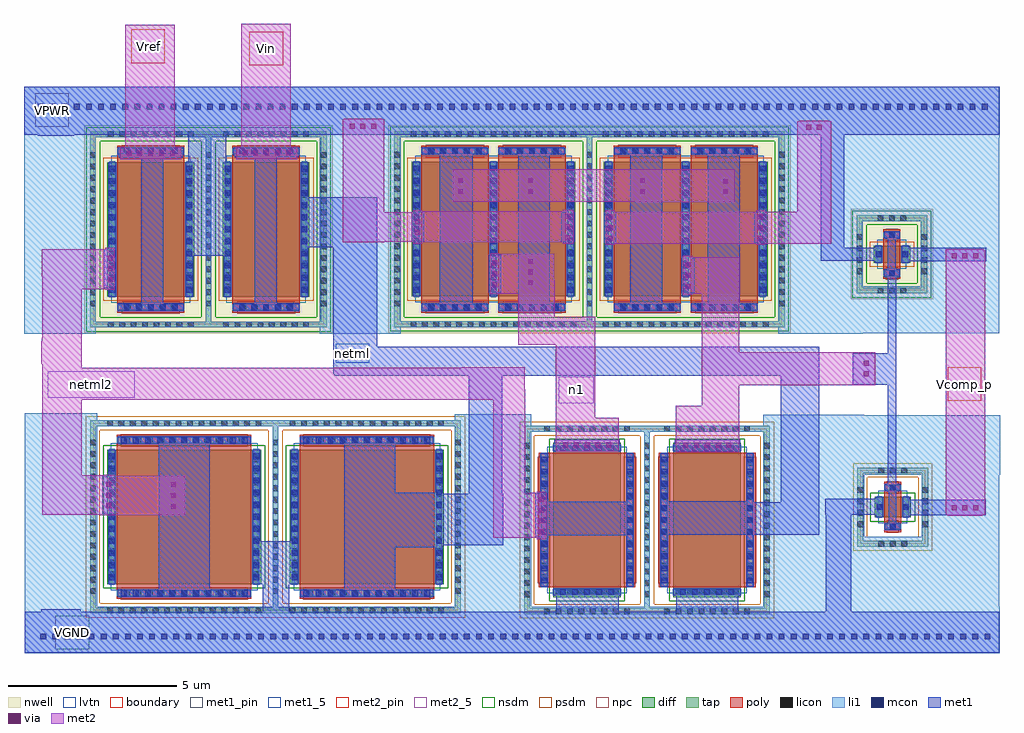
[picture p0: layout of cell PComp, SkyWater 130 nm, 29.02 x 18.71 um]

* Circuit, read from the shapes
.subckt PComp VGND VPWR Vcomp_p Vin Vref n1 netml netml2
XM1 VGND netml2 netml2 VGND sky130_fd_pr__nfet_01v8_lvt w=4 l=4
XM2 netml netml VGND VGND sky130_fd_pr__nfet_01v8_lvt w=4 l=4
XM3 n1 netml2 VGND VGND sky130_fd_pr__nfet_01v8_lvt w=2 l=4
XM4 n2 netml VGND VGND sky130_fd_pr__nfet_01v8_lvt w=2 l=4
XM5 Vcomp_p n2 VGND VGND sky130_fd_pr__nfet_01v8_lvt w=0.61 l=0.5
XM6 VPWR Vref netml2 VPWR sky130_fd_pr__pfet_01v8_lvt w=4 l=2
XM7 netml Vin VPWR VPWR sky130_fd_pr__pfet_01v8_lvt w=4 l=2
XM8 n1 n1 VPWR VPWR sky130_fd_pr__pfet_01v8_lvt w=4 l=2 m=2
XM9 n2 n1 VPWR VPWR sky130_fd_pr__pfet_01v8_lvt w=4 l=2 m=2
XM10 Vcomp_p n2 VPWR VPWR sky130_fd_pr__pfet_01v8_lvt w=0.5 l=0.5
.ends

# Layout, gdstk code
from math import pi, radians
import gdstk
lib = gdstk.Library(unit=1e-6, precision=1e-09)
def R(c, l, rs):  # rectangles x0, y0, x1, y1
    for r in rs: c.add(gdstk.rectangle(r[:2], r[2:], *l))
def A(c, l, x, y, w, h, nx, ny, dx, dy):  # array of equal rectangles
    R(c, l, [(x+i*dx, y+j*dy, x+i*dx+w, y+j*dy+h) for i in range(nx) for j in range(ny)])
nwell = (64, 20)
diff = (65, 20)
tap = (65, 44)
poly = (66, 20)
licon = (66, 44)
li1 = (67, 20)
mcon = (67, 44)
met1_5 = (68, 5)
met1_pin = (68, 16)
met1 = (68, 20)
via = (68, 44)
met2_5 = (69, 5)
met2_pin = (69, 16)
met2 = (69, 20)
nsdm = (93, 44)
psdm = (94, 20)
npc = (95, 20)
lvtn = (125, 44)
boundary = (235, 4)

sky130_fd_pr__pfet_01v8_ = lib.new_cell('sky130_fd_pr__pfet_01v8_lvt_YYMWFH')
R(sky130_fd_pr__pfet_01v8_, nwell, [(-3.125,-3.095,3.125,3.095)])
R(sky130_fd_pr__pfet_01v8_, diff, [(-2.435,-2,2.435,2)])
R(sky130_fd_pr__pfet_01v8_, tap, [(-2.945,-2.915,2.945,-2.745), (-2.945,-2.745,-2.775,2.745), (2.775,-2.745,2.945,2.745), (-2.945,2.745,2.945,2.915)])
R(sky130_fd_pr__pfet_01v8_, poly, [(-2.145,-2.485,-0.145,2.485), (0.145,-2.485,2.145,2.485)])
A(sky130_fd_pr__pfet_01v8_, licon, -2.465, -2.915, 0.17, 0.17, 15, 2, 0.34, 5.66)
A(sky130_fd_pr__pfet_01v8_, licon, -1.91, -2.405, 0.17, 0.17, 5, 2, 0.34, 4.64)
A(sky130_fd_pr__pfet_01v8_, licon, 0.38, -2.405, 0.17, 0.17, 5, 2, 0.34, 4.64)
A(sky130_fd_pr__pfet_01v8_, licon, -2.945, -2.295, 0.17, 0.17, 1, 14, 0, 0.34)
A(sky130_fd_pr__pfet_01v8_, licon, 2.775, -2.295, 0.17, 0.17, 1, 14, 0, 0.34)
A(sky130_fd_pr__pfet_01v8_, licon, -2.375, -1.785, 0.17, 0.17, 3, 11, 2.29, 0.34)
A(sky130_fd_pr__pfet_01v8_, li1, -2.375, -2.02, 0.17, 4.04, 3, 1, 2.29, 0)
R(sky130_fd_pr__pfet_01v8_, li1, [(-2.945,-2.915,2.945,-2.745), (-2.945,-2.745,-2.775,2.745), (2.775,-2.745,2.945,2.745), (-2.145,-2.405,-0.145,-2.235), (0.145,-2.405,2.145,-2.235), (-2.145,2.235,-0.145,2.405), (0.145,2.235,2.145,2.405), (-2.945,2.745,2.945,2.915)])
A(sky130_fd_pr__pfet_01v8_, mcon, -1.95, -2.405, 0.17, 0.17, 5, 2, 0.36, 4.64)
A(sky130_fd_pr__pfet_01v8_, mcon, 0.34, -2.405, 0.17, 0.17, 5, 2, 0.36, 4.64)
A(sky130_fd_pr__pfet_01v8_, mcon, -2.375, -1.885, 0.17, 0.17, 3, 11, 2.29, 0.36)
A(sky130_fd_pr__pfet_01v8_, met1, -2.405, -2, 0.23, 4, 3, 1, 2.29, 0)
R(sky130_fd_pr__pfet_01v8_, met1, [(-2.125,-2.435,-0.165,-2.205), (0.165,-2.435,2.125,-2.205), (-2.125,2.205,-0.165,2.435), (0.165,2.205,2.125,2.435)])
R(sky130_fd_pr__pfet_01v8_, nsdm, [(-3.07,-3.04,3.07,-2.62), (-3.07,-2.62,-2.65,2.62), (2.65,-2.62,3.07,2.62), (-3.07,2.62,3.07,3.04)])
R(sky130_fd_pr__pfet_01v8_, psdm, [(-2.56,-2.125,2.56,2.125)])
R(sky130_fd_pr__pfet_01v8_, npc, [(-2.01,-2.505,-0.28,-2.135), (0.28,-2.505,2.01,-2.135), (-2.01,2.135,-0.28,2.505), (0.28,2.135,2.01,2.505)])
R(sky130_fd_pr__pfet_01v8_, lvtn, [(-2.325,-2.18,2.325,2.18)])
R(sky130_fd_pr__pfet_01v8_, boundary, [(-2.86,-2.83,2.86,2.83)])

c_sky130_fd_pr__pfet_01v8_ = lib.new_cell('sky130_fd_pr__pfet_01v8_lvt_GWB8VV')
R(c_sky130_fd_pr__pfet_01v8_, nwell, [(-1.98,-3.095,1.98,3.095)])
R(c_sky130_fd_pr__pfet_01v8_, diff, [(-1.29,-2,1.29,2)])
R(c_sky130_fd_pr__pfet_01v8_, tap, [(-1.8,-2.915,1.8,-2.745), (-1.8,-2.745,-1.63,2.745), (1.63,-2.745,1.8,2.745), (-1.8,2.745,1.8,2.915)])
R(c_sky130_fd_pr__pfet_01v8_, poly, [(-1,-2.485,1,2.485)])
A(c_sky130_fd_pr__pfet_01v8_, licon, -1.275, -2.915, 0.17, 0.17, 8, 2, 0.34, 5.66)
A(c_sky130_fd_pr__pfet_01v8_, licon, -0.765, -2.405, 0.17, 0.17, 5, 2, 0.34, 4.64)
A(c_sky130_fd_pr__pfet_01v8_, licon, -1.8, -2.295, 0.17, 0.17, 1, 14, 0, 0.34)
A(c_sky130_fd_pr__pfet_01v8_, licon, 1.63, -2.295, 0.17, 0.17, 1, 14, 0, 0.34)
A(c_sky130_fd_pr__pfet_01v8_, licon, -1.23, -1.785, 0.17, 0.17, 1, 11, 0, 0.34)
A(c_sky130_fd_pr__pfet_01v8_, licon, 1.06, -1.785, 0.17, 0.17, 1, 11, 0, 0.34)
R(c_sky130_fd_pr__pfet_01v8_, li1, [(-1.8,-2.915,1.8,-2.745), (-1.8,-2.745,-1.63,2.745), (1.63,-2.745,1.8,2.745), (-1,-2.405,1,-2.235), (-1.23,-2.02,-1.06,2.02), (1.06,-2.02,1.23,2.02), (-1,2.235,1,2.405), (-1.8,2.745,1.8,2.915)])
A(c_sky130_fd_pr__pfet_01v8_, mcon, -0.805, -2.405, 0.17, 0.17, 5, 2, 0.36, 4.64)
A(c_sky130_fd_pr__pfet_01v8_, mcon, -1.23, -1.885, 0.17, 0.17, 1, 11, 0, 0.36)
A(c_sky130_fd_pr__pfet_01v8_, mcon, 1.06, -1.885, 0.17, 0.17, 1, 11, 0, 0.36)
R(c_sky130_fd_pr__pfet_01v8_, met1, [(-0.98,-2.435,0.98,-2.205), (-1.26,-2,-1.03,2), (1.03,-2,1.26,2), (-0.98,2.205,0.98,2.435)])
R(c_sky130_fd_pr__pfet_01v8_, nsdm, [(-1.925,-3.04,1.925,-2.62), (-1.925,-2.62,-1.505,2.62), (1.505,-2.62,1.925,2.62), (-1.925,2.62,1.925,3.04)])
R(c_sky130_fd_pr__pfet_01v8_, psdm, [(-1.415,-2.125,1.415,2.125)])
R(c_sky130_fd_pr__pfet_01v8_, npc, [(-0.865,-2.505,0.865,-2.135), (-0.865,2.135,0.865,2.505)])
R(c_sky130_fd_pr__pfet_01v8_, lvtn, [(-1.18,-2.18,1.18,2.18)])
R(c_sky130_fd_pr__pfet_01v8_, boundary, [(-1.715,-2.83,1.715,2.83)])

sky130_fd_pr__nfet_01v8_ = lib.new_cell('sky130_fd_pr__nfet_01v8_lvt_SBHCTW')
R(sky130_fd_pr__nfet_01v8_, diff, [(-0.54,-0.305,0.54,0.305)])
R(sky130_fd_pr__nfet_01v8_, tap, [(-1.05,-1.175,1.05,-1.005), (-1.05,-1.005,-0.88,1.005), (0.88,-1.005,1.05,1.005), (-1.05,1.005,1.05,1.175)])
R(sky130_fd_pr__nfet_01v8_, poly, [(-0.25,-0.745,0.25,0.745)])
A(sky130_fd_pr__nfet_01v8_, licon, -0.425, -1.175, 0.17, 0.17, 3, 2, 0.34, 2.18)
A(sky130_fd_pr__nfet_01v8_, licon, -1.05, -0.595, 0.17, 0.17, 1, 4, 0, 0.34)
A(sky130_fd_pr__nfet_01v8_, licon, 0.88, -0.595, 0.17, 0.17, 1, 4, 0, 0.34)
R(sky130_fd_pr__nfet_01v8_, licon, [(-0.085,-0.665,0.085,-0.495), (-0.48,-0.085,-0.31,0.085), (0.31,-0.085,0.48,0.085), (-0.085,0.495,0.085,0.665)])
R(sky130_fd_pr__nfet_01v8_, li1, [(-1.05,-1.175,1.05,-1.005), (-1.05,-1.005,-0.88,1.005), (0.88,-1.005,1.05,1.005), (-0.25,-0.665,0.25,-0.495), (-0.48,-0.325,-0.31,0.325), (0.31,-0.325,0.48,0.325), (-0.25,0.495,0.25,0.665), (-1.05,1.005,1.05,1.175)])
R(sky130_fd_pr__nfet_01v8_, mcon, [(-0.085,-0.665,0.085,-0.495), (-0.48,-0.085,-0.31,0.085), (0.31,-0.085,0.48,0.085), (-0.085,0.495,0.085,0.665)])
R(sky130_fd_pr__nfet_01v8_, met1, [(-0.23,-0.695,0.23,-0.465), (-0.51,-0.305,-0.28,0.305), (0.28,-0.305,0.51,0.305), (-0.23,0.465,0.23,0.695)])
R(sky130_fd_pr__nfet_01v8_, nsdm, [(-0.665,-0.43,0.665,0.43)])
R(sky130_fd_pr__nfet_01v8_, psdm, [(-1.175,-1.3,1.175,-0.88), (-1.175,-0.88,-0.755,0.88), (0.755,-0.88,1.175,0.88), (-1.175,0.88,1.175,1.3)])
R(sky130_fd_pr__nfet_01v8_, npc, [(-0.185,-0.765,0.185,-0.395), (-0.185,0.395,0.185,0.765)])
R(sky130_fd_pr__nfet_01v8_, lvtn, [(-0.43,-0.485,0.43,0.485)])
R(sky130_fd_pr__nfet_01v8_, boundary, [(-0.965,-1.09,0.965,1.09)])

c_sky130_fd_pr__nfet_01v8_ = lib.new_cell('sky130_fd_pr__nfet_01v8_lvt_FMZK9W')
R(c_sky130_fd_pr__nfet_01v8_, diff, [(-2.29,-1,2.29,1)])
R(c_sky130_fd_pr__nfet_01v8_, tap, [(-2.8,-1.87,2.8,-1.7), (-2.8,-1.7,-2.63,1.7), (2.63,-1.7,2.8,1.7), (-2.8,1.7,2.8,1.87)])
R(c_sky130_fd_pr__nfet_01v8_, poly, [(-2,-1.44,2,1.44)])
A(c_sky130_fd_pr__nfet_01v8_, licon, -2.295, -1.87, 0.17, 0.17, 14, 2, 0.34, 3.57)
A(c_sky130_fd_pr__nfet_01v8_, licon, -1.785, -1.36, 0.17, 0.17, 11, 2, 0.34, 2.55)
A(c_sky130_fd_pr__nfet_01v8_, licon, -2.8, -1.275, 0.17, 0.17, 1, 8, 0, 0.34)
A(c_sky130_fd_pr__nfet_01v8_, licon, 2.63, -1.275, 0.17, 0.17, 1, 8, 0, 0.34)
A(c_sky130_fd_pr__nfet_01v8_, licon, -2.23, -0.935, 0.17, 0.17, 1, 6, 0, 0.34)
A(c_sky130_fd_pr__nfet_01v8_, licon, 2.06, -0.935, 0.17, 0.17, 1, 6, 0, 0.34)
R(c_sky130_fd_pr__nfet_01v8_, li1, [(-2.8,-1.87,2.8,-1.7), (-2.8,-1.7,-2.63,1.7), (2.63,-1.7,2.8,1.7), (-2,-1.36,2,-1.19), (-2.23,-1.02,-2.06,1.02), (2.06,-1.02,2.23,1.02), (-2,1.19,2,1.36), (-2.8,1.7,2.8,1.87)])
A(c_sky130_fd_pr__nfet_01v8_, mcon, -1.885, -1.36, 0.17, 0.17, 11, 2, 0.36, 2.55)
A(c_sky130_fd_pr__nfet_01v8_, mcon, -2.23, -0.805, 0.17, 0.17, 1, 5, 0, 0.36)
A(c_sky130_fd_pr__nfet_01v8_, mcon, 2.06, -0.805, 0.17, 0.17, 1, 5, 0, 0.36)
R(c_sky130_fd_pr__nfet_01v8_, met1, [(-1.98,-1.39,1.98,-1.16), (-2.26,-1,-2.03,1), (2.03,-1,2.26,1), (-1.98,1.16,1.98,1.39)])
R(c_sky130_fd_pr__nfet_01v8_, nsdm, [(-2.415,-1.125,2.415,1.125)])
R(c_sky130_fd_pr__nfet_01v8_, psdm, [(-2.925,-1.995,2.925,-1.575), (-2.925,-1.575,-2.505,1.575), (2.505,-1.575,2.925,1.575), (-2.925,1.575,2.925,1.995)])
R(c_sky130_fd_pr__nfet_01v8_, npc, [(-1.885,-1.46,1.885,-1.09), (-1.885,1.09,1.885,1.46)])
R(c_sky130_fd_pr__nfet_01v8_, lvtn, [(-2.18,-1.18,2.18,1.18)])
R(c_sky130_fd_pr__nfet_01v8_, boundary, [(-2.71,-1.78,2.71,1.78)])

c_sky130_fd_pr__pfet_01v8__ = lib.new_cell('sky130_fd_pr__pfet_01v8_lvt_TZF6Y6')
R(c_sky130_fd_pr__pfet_01v8__, nwell, [(-1.23,-1.345,1.23,1.345)])
R(c_sky130_fd_pr__pfet_01v8__, diff, [(-0.54,-0.25,0.54,0.25)])
R(c_sky130_fd_pr__pfet_01v8__, tap, [(-1.05,-1.165,1.05,-0.995), (-1.05,-0.995,-0.88,0.995), (0.88,-0.995,1.05,0.995), (-1.05,0.995,1.05,1.165)])
R(c_sky130_fd_pr__pfet_01v8__, poly, [(-0.25,-0.735,0.25,0.735)])
A(c_sky130_fd_pr__pfet_01v8__, licon, -0.425, -1.165, 0.17, 0.17, 3, 2, 0.34, 2.16)
A(c_sky130_fd_pr__pfet_01v8__, licon, -1.05, -0.595, 0.17, 0.17, 1, 4, 0, 0.34)
A(c_sky130_fd_pr__pfet_01v8__, licon, 0.88, -0.595, 0.17, 0.17, 1, 4, 0, 0.34)
R(c_sky130_fd_pr__pfet_01v8__, licon, [(-0.085,-0.655,0.085,-0.485), (-0.48,-0.085,-0.31,0.085), (0.31,-0.085,0.48,0.085), (-0.085,0.485,0.085,0.655)])
R(c_sky130_fd_pr__pfet_01v8__, li1, [(-1.05,-1.165,1.05,-0.995), (-1.05,-0.995,-0.88,0.995), (0.88,-0.995,1.05,0.995), (-0.25,-0.655,0.25,-0.485), (-0.48,-0.27,-0.31,0.27), (0.31,-0.27,0.48,0.27), (-0.25,0.485,0.25,0.655), (-1.05,0.995,1.05,1.165)])
R(c_sky130_fd_pr__pfet_01v8__, mcon, [(-0.085,-0.655,0.085,-0.485), (-0.48,-0.085,-0.31,0.085), (0.31,-0.085,0.48,0.085), (-0.085,0.485,0.085,0.655)])
R(c_sky130_fd_pr__pfet_01v8__, met1, [(-0.23,-0.685,0.23,-0.455), (-0.51,-0.25,-0.28,0.25), (0.28,-0.25,0.51,0.25), (-0.23,0.455,0.23,0.685)])
R(c_sky130_fd_pr__pfet_01v8__, nsdm, [(-1.175,-1.29,1.175,-0.87), (-1.175,-0.87,-0.755,0.87), (0.755,-0.87,1.175,0.87), (-1.175,0.87,1.175,1.29)])
R(c_sky130_fd_pr__pfet_01v8__, psdm, [(-0.665,-0.375,0.665,0.375)])
R(c_sky130_fd_pr__pfet_01v8__, npc, [(-0.185,-0.755,0.185,-0.385), (-0.185,0.385,0.185,0.755)])
R(c_sky130_fd_pr__pfet_01v8__, lvtn, [(-0.43,-0.43,0.43,0.43)])
R(c_sky130_fd_pr__pfet_01v8__, boundary, [(-0.965,-1.08,0.965,1.08)])

c_sky130_fd_pr__nfet_01v8__ = lib.new_cell('sky130_fd_pr__nfet_01v8_lvt_5W6L9D')
R(c_sky130_fd_pr__nfet_01v8__, diff, [(-2.29,-2,2.29,2)])
R(c_sky130_fd_pr__nfet_01v8__, tap, [(-2.8,-2.87,2.8,-2.7), (-2.8,-2.7,-2.63,2.7), (2.63,-2.7,2.8,2.7), (-2.8,2.7,2.8,2.87)])
R(c_sky130_fd_pr__nfet_01v8__, poly, [(-2,-2.44,2,2.44)])
A(c_sky130_fd_pr__nfet_01v8__, licon, -2.295, -2.87, 0.17, 0.17, 14, 2, 0.34, 5.57)
A(c_sky130_fd_pr__nfet_01v8__, licon, -1.785, -2.36, 0.17, 0.17, 11, 2, 0.34, 4.55)
A(c_sky130_fd_pr__nfet_01v8__, licon, -2.8, -2.295, 0.17, 0.17, 1, 14, 0, 0.34)
A(c_sky130_fd_pr__nfet_01v8__, licon, 2.63, -2.295, 0.17, 0.17, 1, 14, 0, 0.34)
A(c_sky130_fd_pr__nfet_01v8__, licon, -2.23, -1.785, 0.17, 0.17, 1, 11, 0, 0.34)
A(c_sky130_fd_pr__nfet_01v8__, licon, 2.06, -1.785, 0.17, 0.17, 1, 11, 0, 0.34)
R(c_sky130_fd_pr__nfet_01v8__, li1, [(-2.8,-2.87,2.8,-2.7), (-2.8,-2.7,-2.63,2.7), (2.63,-2.7,2.8,2.7), (-2,-2.36,2,-2.19), (-2.23,-2.02,-2.06,2.02), (2.06,-2.02,2.23,2.02), (-2,2.19,2,2.36), (-2.8,2.7,2.8,2.87)])
A(c_sky130_fd_pr__nfet_01v8__, mcon, -1.885, -2.36, 0.17, 0.17, 11, 2, 0.36, 4.55)
A(c_sky130_fd_pr__nfet_01v8__, mcon, -2.23, -1.885, 0.17, 0.17, 1, 11, 0, 0.36)
A(c_sky130_fd_pr__nfet_01v8__, mcon, 2.06, -1.885, 0.17, 0.17, 1, 11, 0, 0.36)
R(c_sky130_fd_pr__nfet_01v8__, met1, [(-1.98,-2.39,1.98,-2.16), (-2.26,-2,-2.03,2), (2.03,-2,2.26,2), (-1.98,2.16,1.98,2.39)])
R(c_sky130_fd_pr__nfet_01v8__, nsdm, [(-2.415,-2.125,2.415,2.125)])
R(c_sky130_fd_pr__nfet_01v8__, psdm, [(-2.925,-2.995,2.925,-2.575), (-2.925,-2.575,-2.505,2.575), (2.505,-2.575,2.925,2.575), (-2.925,2.575,2.925,2.995)])
R(c_sky130_fd_pr__nfet_01v8__, npc, [(-1.885,-2.46,1.885,-2.09), (-1.885,2.09,1.885,2.46)])
R(c_sky130_fd_pr__nfet_01v8__, lvtn, [(-2.18,-2.18,2.18,2.18)])
R(c_sky130_fd_pr__nfet_01v8__, boundary, [(-2.71,-2.78,2.71,2.78)])

pcomp = lib.new_cell('PComp')
R(pcomp, li1, [(12.005,-7.51,41.005,-6.135), (12.01,-6.135,14.175,-0.38), (24.795,-6.135,27.08,-0.4), (33.98,-6.135,41,-4.045), (33.98,-4.045,36.975,-2.2), (38.685,-4.045,41,-2.2), (33.98,-2.2,41.015,-0.44), (33.98,-0.44,36.975,-0.42), (12.535,1.99,13.705,1.995), (11.99,1.995,14.13,7.83), (20.79,1.995,23.195,7.83), (34.42,1.995,36.935,2), (34.42,2,41,3.4), (34.42,3.4,36.935,5.33), (38.665,3.4,41,5.33), (34.415,5.33,41,7.83), (11.99,7.83,41.005,9.33), (38.94,9.33,41.005,9.34)])
A(pcomp, mcon, 12.475, -7.1, 0.17, 0.17, 79, 1, 0.36, 0)
A(pcomp, mcon, 12.395, 8.655, 0.17, 0.17, 79, 1, 0.36, 0)
R(pcomp, met1_5, [(21.26,1.13,22.25,1.69)])
R(pcomp, met1_pin, [(12.925,-7.4,13.925,-6.4), (12.325,8.14,13.325,9.14)])
R(pcomp, met1, [(12.01,-7.5,40.99,-6.285), (12.5,-6.285,13.68,-6.21), (19.09,-6.285,19.875,-5.46), (27.815,-6.285,29.675,-5.615), (31.38,-6.285,33.225,-5.61), (35.83,-6.285,36.585,-3.395), (15.99,-5.82,17.51,-1.135), (21.51,-5.8,23.03,-4.36), (18.835,-5.46,20.11,-4.185), (21.51,-4.36,24.325,-4.3), (21.51,-4.3,26.235,-2.765), (27.19,-4.07,27.57,-4), (27.19,-4,30.08,-3.005), (30.945,-3.995,35.635,-3.985), (30.945,-3.985,33.465,-2.995), (33.495,-3.985,35.635,-3.015), (37.675,-3.82,37.93,-3.61), (37.7,-3.61,37.93,-2.715), (38.145,-3.41,40.595,-2.945), (35.815,-3.395,37.51,-2.92), (14.31,-3.365,14.71,-2.25), (34.495,-3.015,35.635,0.735), (27.19,-3.005,27.57,-2.755), (21.51,-2.765,24.325,-2.745), (25.21,-2.765,26.215,0.735), (21.51,-2.745,23.03,-1.115), (37.675,-2.715,37.93,-2.64), (37.67,-2.64,37.93,0.465), (31.34,-1.48,33.295,-1.165), (27.765,-1.47,29.705,-1.165), (36.63,0.465,37.93,1.405), (25.21,0.735,35.635,0.74), (21.21,0.74,35.635,0.795), (21.185,0.795,35.635,1.6), (37.67,1.405,37.93,3.765), (21.185,1.6,22.495,4.56), (18.845,2.705,19.505,7.235), (24.36,2.72,25.34,7.515), (15.475,2.73,16.135,7.225), (26.685,2.73,27.625,7.515), (30.02,2.735,30.975,7.505), (32.325,2.745,33.28,7.515), (31.535,3.195,31.93,4.255), (25.815,3.215,26.18,4.335), (14.36,3.34,14.74,4.5), (37.67,3.765,37.91,5), (38.12,4.15,40.61,4.54), (35.69,4.16,37.49,4.55), (16.825,4.31,18.12,4.54), (16.82,4.54,18.12,5.765), (35.69,4.55,36.385,7.905), (20.255,4.56,22.5,6.05), (29.24,4.685,29.61,5.605), (33.71,4.685,34.075,5.61), (27.96,4.715,28.37,5.62), (23.52,4.72,23.89,5.61), (16.82,5.765,18.11,6.57), (16.88,6.57,18.01,7.905), (14.805,7.225,16.71,7.495), (18.255,7.235,20.16,7.505), (15.475,7.495,16.135,7.52), (12.405,7.87,13.48,7.905), (11.99,7.905,40.99,9.33)])
A(pcomp, via, 27.305, -3.97, 0.15, 0.15, 1, 4, 0, 0.32)
A(pcomp, via, 39.575, -3.26, 0.15, 0.15, 3, 2, 0.32, 7.495)
A(pcomp, via, 16.355, -3.21, 0.15, 0.15, 1, 3, 0, 0.32)
A(pcomp, via, 14.435, -3.205, 0.15, 0.15, 1, 3, 0, 0.32)
A(pcomp, via, 31.6, -1.4, 0.15, 0.15, 5, 1, 0.32, 0)
A(pcomp, via, 28.02, -1.395, 0.15, 0.15, 5, 1, 0.32, 0)
A(pcomp, via, 31.655, 3.33, 0.15, 0.15, 1, 3, 0, 0.32)
A(pcomp, via, 25.92, 3.38, 0.15, 0.15, 1, 3, 0, 0.32)
A(pcomp, via, 26.99, 3.43, 0.15, 0.15, 1, 3, 0, 0.32)
A(pcomp, via, 14.475, 3.525, 0.15, 0.15, 1, 3, 0, 0.32)
A(pcomp, via, 29.35, 4.75, 0.15, 0.15, 1, 3, 0, 0.32)
A(pcomp, via, 33.815, 4.75, 0.15, 0.15, 1, 3, 0, 0.32)
A(pcomp, via, 28.09, 4.77, 0.15, 0.15, 1, 3, 0, 0.32)
A(pcomp, via, 15.04, 7.285, 0.15, 0.15, 5, 1, 0.32, 0)
A(pcomp, via, 18.49, 7.295, 0.15, 0.15, 5, 1, 0.32, 0)
A(pcomp, via, 21.67, 8.09, 0.15, 0.15, 3, 1, 0.32, 0)
R(pcomp, via, [(36.96,0.72,37.11,0.87), (36.96,1.04,37.11,1.19), (23.63,4.93,23.78,5.08), (23.63,5.25,23.78,5.4), (32.775,6.135,32.925,6.285), (30.32,6.14,30.47,6.29), (24.905,6.15,25.055,6.3), (26.99,6.155,27.14,6.305), (32.775,6.455,32.925,6.605), (30.32,6.46,30.47,6.61), (24.905,6.47,25.055,6.62), (26.99,6.475,27.14,6.625), (35.25,8.06,35.4,8.21), (35.57,8.06,35.72,8.21)])
R(pcomp, met2_5, [(27.89,-0.075,28.93,0.715), (12.7,0.08,15.28,0.87)])
R(pcomp, met2_pin, [(39.46,-0.01,40.46,0.99), (18.695,9.975,19.695,10.975), (15.18,10.04,16.18,11.04)])
R(pcomp, met2, [(27.24,-4.12,27.52,-4.085), (26.45,-4.085,27.54,-4.08), (25.94,-4.08,27.54,-2.745), (39.445,-3.425,40.495,-3.395), (14.255,-3.415,16.78,-3.4), (12.53,-3.4,16.78,-2.235), (39.405,-3.395,40.575,4.47), (25.94,-2.745,26.9,0.02), (27.24,-2.745,27.52,-2.705), (12.53,-2.235,14.695,-2.215), (12.535,-2.215,13.705,-0.295), (14.36,-2.215,14.66,-2.2), (31.39,-1.53,33.245,-1.5), (27.815,-1.52,29.655,-1.48), (31.37,-1.5,33.255,-0.15), (27.805,-1.48,29.67,-0.505), (27.805,-0.505,28.985,1.655), (12.53,-0.295,13.71,0.02), (32.15,-0.15,33.255,0.45), (12.53,0.02,26.9,0.32), (12.53,0.32,26.88,0.985), (32.15,0.45,37.31,1.435), (12.53,0.985,13.71,1.1), (25.01,0.985,26.88,0.99), (12.51,1.1,13.71,1.77), (32.15,1.435,33.255,3.18), (27.685,1.655,28.985,1.66), (26.685,1.66,28.985,2.495), (12.52,1.77,13.71,1.86), (12.53,1.86,13.71,3.315), (26.685,2.495,27.775,3.185), (31.585,3.145,31.88,3.18), (25.865,3.165,26.13,3.185), (31.585,3.18,33.255,4.27), (25.855,3.185,27.775,3.6), (14.41,3.29,14.69,3.315), (12.53,3.315,14.695,3.695), (25.855,3.6,27.765,4.37), (12.525,3.695,14.695,4.495), (31.585,4.27,31.88,4.305), (25.865,4.37,26.13,4.385), (27.55,4.37,27.765,4.375), (39.405,4.47,40.535,4.495), (12.735,4.495,14.695,4.5), (14.41,4.5,14.69,4.55), (29.29,4.635,29.56,4.665), (33.76,4.635,34.025,4.665), (28.01,4.665,28.32,4.705), (29.285,4.665,34.04,4.67), (23.57,4.67,23.84,4.705), (29.285,4.67,36,5.61), (23.57,4.705,28.34,4.72), (21.465,4.715,22.71,4.72), (21.465,4.72,28.34,5.605), (21.465,5.605,22.71,8.375), (23.57,5.605,28.34,5.63), (29.285,5.61,34.04,5.62), (34.98,5.61,36,8.31), (29.29,5.62,29.56,5.655), (33.76,5.62,34.025,5.66), (23.57,5.63,23.84,5.66), (28.01,5.63,28.32,5.67), (30.25,5.895,30.545,5.9), (32.72,5.895,32.98,5.9), (30.175,5.9,33.13,5.91), (24.83,5.91,25.13,5.915), (26.89,5.91,33.13,5.915), (24.74,5.915,33.13,6.875), (24.74,6.875,27.3,6.885), (14.855,7.175,16.66,7.545), (18.305,7.185,20.11,7.555), (15.005,7.545,16.47,11.18), (18.455,7.555,19.92,11.205), (35.04,8.31,35.93,8.32), (21.495,8.375,22.64,8.39)])
pcomp.add(gdstk.Reference(sky130_fd_pr__pfet_01v8_, (31.67,5.1)))
pcomp.add(gdstk.Reference(sky130_fd_pr__pfet_01v8_, (25.95,5.1)))
pcomp.add(gdstk.Reference(c_sky130_fd_pr__pfet_01v8_, (19.19,5.095)))
pcomp.add(gdstk.Reference(c_sky130_fd_pr__pfet_01v8_, (15.76,5.095)))
pcomp.add(gdstk.Reference(sky130_fd_pr__nfet_01v8_, (37.825,-3.165)))
pcomp.add(gdstk.Reference(c_sky130_fd_pr__nfet_01v8_, (28.735,-3.55), rotation=3*pi/2))
pcomp.add(gdstk.Reference(c_sky130_fd_pr__pfet_01v8__, (37.8,4.355), rotation=pi, x_reflection=True))
pcomp.add(gdstk.Reference(c_sky130_fd_pr__nfet_01v8_, (32.305,-3.55), rotation=3*pi/2))
pcomp.add(gdstk.Reference(c_sky130_fd_pr__nfet_01v8__, (16.755,-3.455)))
pcomp.add(gdstk.Reference(c_sky130_fd_pr__nfet_01v8__, (22.185,-3.455)))
pcomp.add(gdstk.Label('VGND', (13.425,-6.9), layer=68, texttype=5))
pcomp.add(gdstk.Label('VPWR', (12.825,8.64), layer=68, texttype=5))
pcomp.add(gdstk.Label('netml', (21.755,1.41), layer=68, texttype=5))
pcomp.add(gdstk.Label('Vcomp_p', (39.96,0.49), layer=69, texttype=5))
pcomp.add(gdstk.Label('Vin', (19.195,10.475), layer=69, texttype=5))
pcomp.add(gdstk.Label('Vref', (15.68,10.54), layer=69, texttype=5))
pcomp.add(gdstk.Label('n1', (28.41,0.32), layer=69, texttype=5))
pcomp.add(gdstk.Label('netml2', (13.99,0.475), layer=69, texttype=5))

lib.write_gds('PComp.gds')
